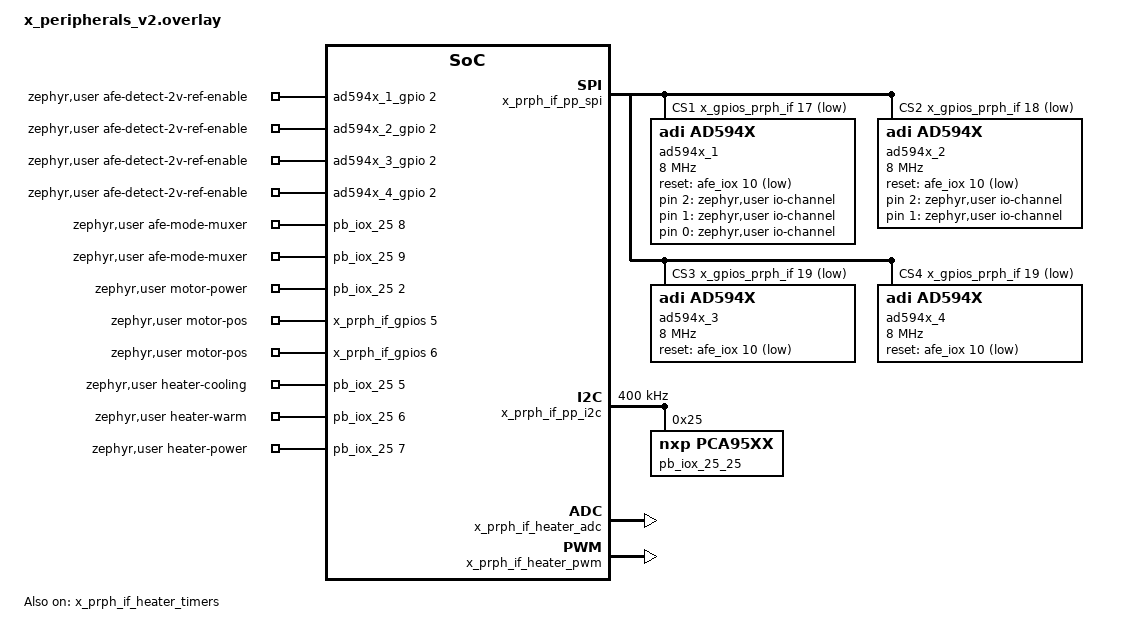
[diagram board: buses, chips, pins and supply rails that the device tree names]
#include <dt-bindings/gpio/gpio_ad594x.h>

/ {
    zephyr,user {
        io-channels =   <0>,     //AFE channel 1 not connected to any ADC.
                        <0>,             //AFE channel 2 not connected to any ADC.
                        <0>,             //AFE channel 3 not connected to any ADC.
                        <&ad594x_1 2>,   //AFE channel 4.
                        <&ad594x_1 1>,   //AFE channel 5.
                        <&ad594x_1 0>,   //AFE channel 6.
                        <&ad594x_2 2>,   //AFE channel 7.
                        <&ad594x_2 1>,   //AFE channel 8.
                        <&ad594x_2 0>,   //AFE channel 9.
                        <&ad594x_3 2>,   //AFE channel 10.
                        <&ad594x_3 1>,   //AFE channel 11.
                        <&ad594x_3 0>,   //AFE channel 12.
                        <&ad594x_4 2>,   //AFE channel 13.
                        <&ad594x_4 1>,   //AFE channel 14.
                        <&ad594x_4 0>    //AFE channel 15.
                        ;

        afe-detect-adc-channel = <11>;
        afe-detect-2v-ref-enable-gpios = <&ad594x_1_gpio 2 (GPIO_ACTIVE_HIGH|AD594X_MODE_EXT_SYNC)>,
		<&ad594x_2_gpio 2 (GPIO_ACTIVE_HIGH|AD594X_MODE_EXT_SYNC)>,
		<&ad594x_3_gpio 2 (GPIO_ACTIVE_HIGH|AD594X_MODE_EXT_SYNC)>,
		<&ad594x_4_gpio 2 (GPIO_ACTIVE_HIGH|AD594X_MODE_EXT_SYNC)>;
        afe-mode-muxer-gpios = <&pb_iox_25 8 GPIO_ACTIVE_HIGH>,
                               <&pb_iox_25 9 GPIO_ACTIVE_HIGH>;

		motor-power-gpios = <&pb_iox_25 2 GPIO_ACTIVE_HIGH>;
		motor-pos-gpios = <&x_prph_if_gpios 5 GPIO_ACTIVE_HIGH>,
		                  <&x_prph_if_gpios 6 GPIO_ACTIVE_HIGH>;
		motor-ctl = &drv8435_5;

		heater-thermistor-channel = <6>;
		heater-cooling-gpios = <&pb_iox_25 5 GPIO_ACTIVE_HIGH>;
		heater-warm-gpios = <&pb_iox_25 6 GPIO_ACTIVE_HIGH>;
		heater-power-gpios = <&pb_iox_25 7 GPIO_ACTIVE_HIGH>;
		heater-thermistor-adc = &heater_adc;
		heater-pwm = &heater_pwm;
  	};
};

afe_spi: &x_prph_if_pp_spi {};
motor_spi: &x_prph_if_pp_spi {};

pp_i2c: &x_prph_if_pp_i2c {};

heater_adc: &x_prph_if_heater_adc {};
heater_timers: &x_prph_if_heater_timers {};
heater_pwm: &x_prph_if_heater_pwm {};

&pp_i2c {
		status = "okay";
	clock-frequency = <I2C_BITRATE_FAST>;

	pb_iox_25_25: pca9535@25 {
		compatible = "nxp,pca95xx";
		reg = <0x25>;
		#gpio-cells = <2>;
		gpio-controller;

		status = "okay";
	};
};

&afe_spi {

	ad594x_1: ad594x_1@1 {
		compatible = "adi,ad594x";
		status = "okay";
		reg = <0x1>;
		spi-max-frequency = <8000000>; // 8 MHz
		#io-channel-cells = <1>;
		reset-gpios = <&afe_iox 10 GPIO_ACTIVE_LOW>;

		ad594x_1_gpio: gpio {
			compatible = "adi,ad594x-gpio";
			status = "okay";
			gpio-controller;
			#gpio-cells = <2>;
		};
	};

	ad594x_2: ad594x_2@2 {
		compatible = "adi,ad594x";
		status = "okay";
		reg = <0x2>;
		spi-max-frequency = <8000000>; // 8 MHz
		#io-channel-cells = <1>;
		reset-gpios = <&afe_iox 10 GPIO_ACTIVE_LOW>;

		ad594x_2_gpio: gpio {
			compatible = "adi,ad594x-gpio";
			status = "okay";
			gpio-controller;
			#gpio-cells = <2>;
		};
	};

	ad594x_3: ad594x@3 {
		compatible = "adi,ad594x";
		status = "okay";
		reg = <0x3>;
		spi-max-frequency = <8000000>; // 8 MHz
		#io-channel-cells = <1>;
		reset-gpios = <&afe_iox 10 GPIO_ACTIVE_LOW>;

		ad594x_2_gpio: gpio {
			compatible = "adi,ad594x-gpio";
			status = "okay";
			gpio-controller;
			#gpio-cells = <2>;
		};
	};

	ad594x_4: ad594x@4 {
		compatible = "adi,ad594x";
		status = "okay";
		reg = <0x4>;
		spi-max-frequency = <8000000>; // 8 MHz
		#io-channel-cells = <1>;
		reset-gpios = <&afe_iox 10 GPIO_ACTIVE_LOW>;

		ad594x_2_gpio: gpio {
			compatible = "adi,ad594x-gpio";
			status = "okay";
			gpio-controller;
			#gpio-cells = <2>;
		};
	};
};

&motor_spi{

	drv8434_5: ti8434@5 {
		status = "okay";
		compatible = "ti,drv8434s";
		reg = <5>;

		spi-max-frequency = <10000000>;

		enable-gpios = <&pb_iox_25 13 GPIO_ACTIVE_HIGH>;	/* PB_MOT_nEN1 */
		sleep-gpios = <&pb_iox_25 14 GPIO_ACTIVE_LOW>;	/* PB_MOT_nSLEEP1 */
		fault-gpios = <&pb_iox_25 14 GPIO_ACTIVE_LOW>;	/* PB_MOT_nFAULT1 */

		dir-gpios = <&x_prph_if_gpios 8 GPIO_ACTIVE_HIGH>; /* MOT_DIR */
		pwms = <&motor_pwm 4 0 PWM_POLARITY_NORMAL>;	   /* MOT_STEP */
	};
};

&x_prph_if_pp_spi{
	status = "okay";
	cs-gpios = <&x_gpios_prph_if 16 (GPIO_ACTIVE_LOW | GPIO_PULL_UP)>,    /* AFE_SPI_nCS1 */
		   <&x_gpios_prph_if 17 (GPIO_ACTIVE_LOW | GPIO_PULL_UP)>,
		   <&x_gpios_prph_if 18 (GPIO_ACTIVE_LOW | GPIO_PULL_UP)>,
		   <&x_gpios_prph_if 19 (GPIO_ACTIVE_LOW | GPIO_PULL_UP)>
		   <&x_gpios_prph_if 19 (GPIO_ACTIVE_LOW | GPIO_PULL_UP)>
		   ;
};

&heater_adc {
	status = "okay";
};

&heater_timers {
	status = "okay";
};

&heater_pwm {
	status = "okay";
};
